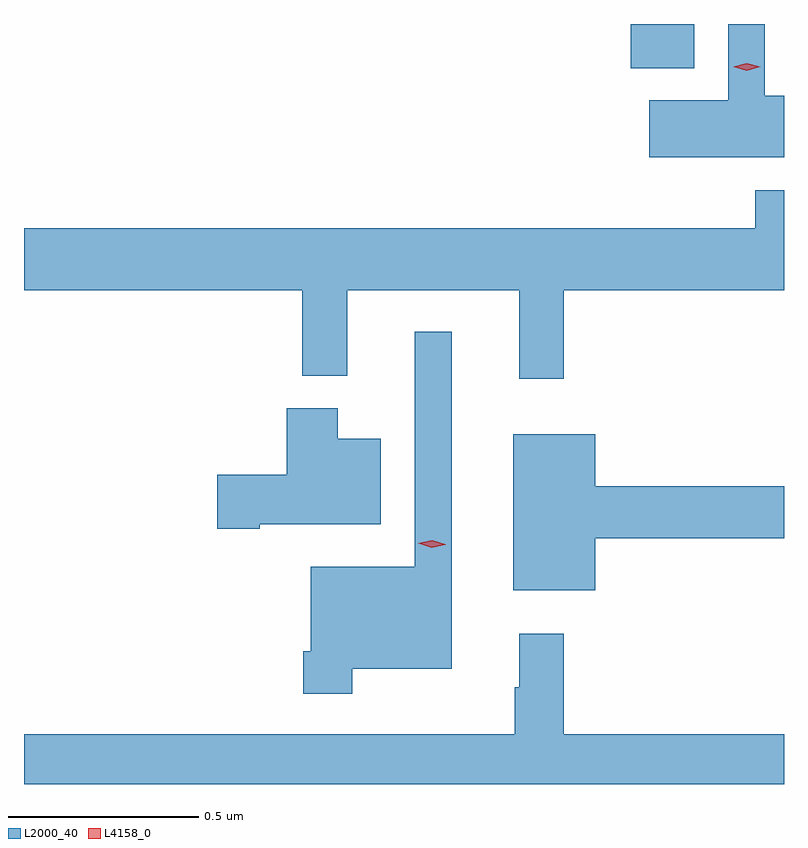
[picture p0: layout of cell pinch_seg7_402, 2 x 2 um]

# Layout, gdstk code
import gdstk
lib = gdstk.Library(unit=1e-6, precision=1e-09)
def R(c, l, rs):  # rectangles x0, y0, x1, y1
    for r in rs: c.add(gdstk.rectangle(r[:2], r[2:], *l))
def P(c, l, *ps):  # polygons
    for p in ps: c.add(gdstk.Polygon(p, *l))
L2000_40 = (2000, 40)
L4158_0 = (4158, 0)

pinch_seg7_402 = lib.new_cell('pinch_seg7_402')
R(pinch_seg7_402, L2000_40, [(521.45,1027.841,521.617,1027.957)])
P(pinch_seg7_402, L2000_40, [(521.853,1027.768),(521.802,1027.768),(521.802,1027.957),(521.706,1027.957),(521.706,1027.756),(521.499,1027.756),(521.499,1027.607),(521.853,1027.607)],
  [(521.273,1027.256),(521.853,1027.256),(521.853,1027.519),(521.777,1027.519),(521.777,1027.42),(519.853,1027.42),(519.853,1027.256),(520.585,1027.256),(520.585,1027.031),(520.703,1027.031),(520.703,1027.256),(521.156,1027.256),(521.156,1027.023),(521.273,1027.023)],
  [(520.717,1026.26),(520.978,1026.26),(520.978,1027.147),(520.881,1027.147),(520.881,1026.529),(520.608,1026.529),(520.608,1026.307),(520.588,1026.307),(520.588,1026.195),(520.717,1026.195)],
  [(520.474,1026.641),(520.792,1026.641),(520.792,1026.865),(520.678,1026.865),(520.678,1026.946),(520.544,1026.946),(520.544,1026.771),(520.362,1026.771),(520.362,1026.629),(520.474,1026.629)],
  [(521.356,1026.604),(521.853,1026.604),(521.853,1026.74),(521.356,1026.74),(521.356,1026.877),(521.141,1026.877),(521.141,1026.467),(521.356,1026.467)],
  [(521.853,1026.088),(521.273,1026.088),(521.273,1026.352),(521.156,1026.352),(521.156,1026.212),(521.145,1026.212),(521.145,1026.088),(519.853,1026.088),(519.853,1025.957),(521.853,1025.957)])
P(pinch_seg7_402, L4158_0, [(520.926,1026.579),(520.891,1026.59),(520.891,1026.591),(520.891,1026.591),(520.927,1026.599),(520.962,1026.588),(520.963,1026.587),(520.962,1026.587)],
  [(521.755,1027.834),(521.72,1027.844),(521.72,1027.844),(521.72,1027.844),(521.755,1027.854),(521.79,1027.844),(521.79,1027.844),(521.79,1027.844)])

lib.write_gds('pinch_seg7_402.gds')
